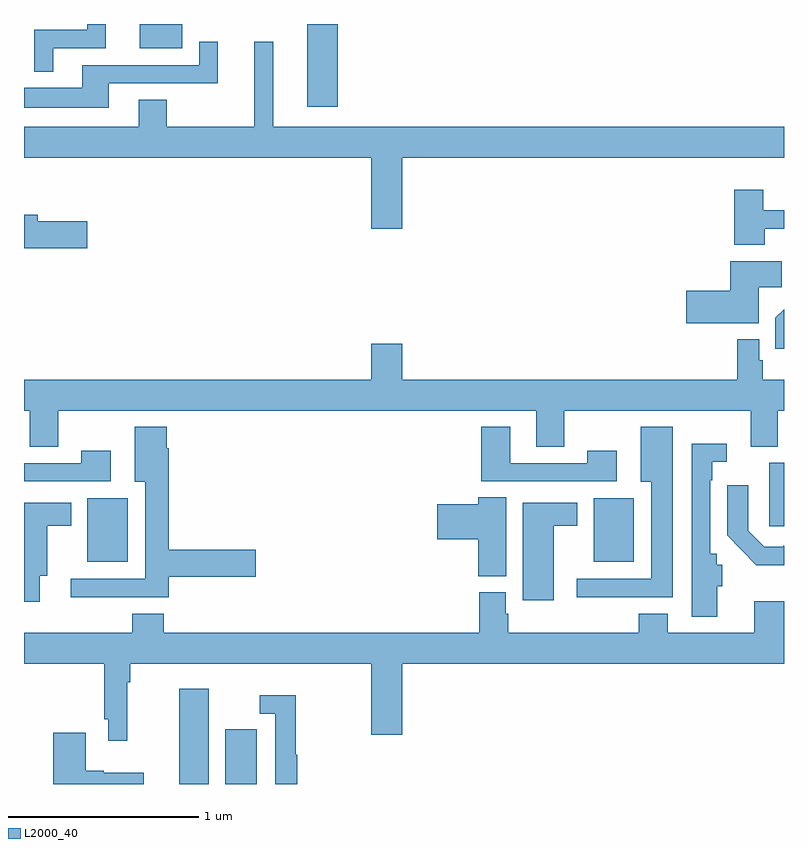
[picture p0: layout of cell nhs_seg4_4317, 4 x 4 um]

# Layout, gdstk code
import gdstk
lib = gdstk.Library(unit=1e-6, precision=1e-09)
def R(c, l, rs):  # rectangles x0, y0, x1, y1
    for r in rs: c.add(gdstk.rectangle(r[:2], r[2:], *l))
def P(c, l, *ps):  # polygons
    for p in ps: c.add(gdstk.Polygon(p, *l))
L2000_40 = (2000, 40)

nhs_seg4_4317 = lib.new_cell('nhs_seg4_4317')
R(nhs_seg4_4317, L2000_40, [(343.817,750.9,343.972,751.402), (344.06,750.9,344.224,751.189), (343.334,752.069,343.546,752.404), (345.998,752.069,346.21,752.404), (346.922,752.256,347,752.59), (344.492,754.464,344.651,754.9), (343.61,754.772,343.834,754.9)])
P(nhs_seg4_4317, L2000_40, [(343.153,754.773),(343.43,754.773),(343.43,754.9),(343.332,754.9),(343.332,754.869),(343.055,754.869),(343.055,754.649),(343.153,754.649)],
  [(343.447,754.587),(344.021,754.587),(344.021,754.807),(343.923,754.807),(343.923,754.683),(343.307,754.683),(343.307,754.564),(343,754.564),(343,754.46),(343.447,754.46)],
  [(344.992,754.196),(347,754.196),(347,754.36),(344.312,754.36),(344.312,754.807),(344.213,754.807),(344.213,754.36),(343.752,754.36),(343.752,754.502),(343.604,754.502),(343.604,754.36),(343,754.36),(343,754.196),(344.828,754.196),(344.828,753.822),(344.992,753.822)],
  [(346.899,753.822),(347,753.822),(347,753.921),(346.891,753.921),(346.891,754.027),(346.739,754.027),(346.739,753.737),(346.899,753.737)],
  [(343.333,753.861),(343.072,753.861),(343.072,753.895),(343,753.895),(343,753.719),(343.333,753.719)],
  [(346.867,753.514),(346.988,753.514),(346.988,753.652),(346.718,753.652),(346.718,753.497),(346.485,753.497),(346.485,753.326),(346.867,753.326)],
  [(347,753.4),(346.954,753.354),(346.954,753.192),(347,753.192)],
  [(343.179,752.864),(345.695,752.864),(345.695,752.674),(345.843,752.674),(345.843,752.864),(346.826,752.864),(346.826,752.675),(346.966,752.675),(346.966,752.864),(347,752.864),(347,753.028),(346.889,753.028),(346.889,753.129),(346.869,753.129),(346.869,753.241),(346.753,753.241),(346.753,753.028),(344.992,753.028),(344.992,753.217),(344.828,753.217),(344.828,753.028),(343,753.028),(343,752.864),(343.031,752.864),(343.031,752.674),(343.179,752.674)],
  [(346.414,752.779),(346.247,752.779),(346.247,752.492),(346.301,752.492),(346.301,751.98),(345.909,751.98),(345.909,751.883),(346.414,751.883)],
  [(343.763,751.99),(344.221,751.99),(344.221,752.132),(343.763,752.132),(343.763,752.666),(343.75,752.666),(343.75,752.779),(343.583,752.779),(343.583,752.492),(343.637,752.492),(343.637,751.98),(343.245,751.98),(343.245,751.883),(343.763,751.883)],
  [(346.12,752.653),(345.964,752.653),(345.964,752.589),(345.559,752.589),(345.559,752.779),(345.407,752.779),(345.407,752.493),(346.12,752.493)],
  [(346.648,751.941),(346.675,751.941),(346.675,752.055),(346.647,752.055),(346.647,752.112),(346.611,752.112),(346.611,752.498),(346.623,752.498),(346.623,752.595),(346.699,752.595),(346.699,752.692),(346.515,752.692),(346.515,752.009),(346.514,752.009),(346.514,751.781),(346.648,751.781)],
  [(343.456,752.653),(343.3,752.653),(343.3,752.589),(343,752.589),(343,752.493),(343.456,752.493)],
  [(347,752.153),(346.996,752.153),(346.996,752.148),(346.896,752.148),(346.812,752.232),(346.812,752.473),(346.7,752.473),(346.7,752.208),(346.774,752.134),(346.774,752.133),(346.855,752.051),(347,752.051)],
  [(345.538,752.408),(345.392,752.408),(345.392,752.372),(345.174,752.372),(345.174,752.189),(345.392,752.189),(345.392,751.993),(345.538,751.993)],
  [(343.084,751.997),(343.123,751.997),(343.123,752.258),(343.249,752.258),(343.249,752.38),(343,752.38),(343,751.86),(343.084,751.86)],
  [(345.787,752.258),(345.913,752.258),(345.913,752.38),(345.626,752.38),(345.626,751.868),(345.787,751.868)],
  [(343.544,751.436),(343.559,751.436),(343.559,751.532),(344.828,751.532),(344.828,751.158),(344.992,751.158),(344.992,751.532),(347,751.532),(347,751.861),(346.844,751.861),(346.844,751.696),(346.387,751.696),(346.387,751.795),(346.235,751.795),(346.235,751.696),(345.548,751.696),(345.548,751.797),(345.535,751.797),(345.535,751.908),(345.395,751.908),(345.395,751.696),(343.736,751.696),(343.736,751.795),(343.571,751.795),(343.571,751.696),(343,751.696),(343,751.532),(343.423,751.532),(343.423,751.24),(343.443,751.24),(343.443,751.128),(343.544,751.128)],
  [(344.438,751.053),(344.431,751.053),(344.431,751.366),(344.241,751.366),(344.241,751.269),(344.322,751.269),(344.322,750.9),(344.438,750.9)],
  [(343.63,750.958),(343.42,750.958),(343.42,750.971),(343.324,750.971),(343.324,751.171),(343.154,751.171),(343.154,750.9),(343.63,750.9)])

lib.write_gds('nhs_seg4_4317.gds')
